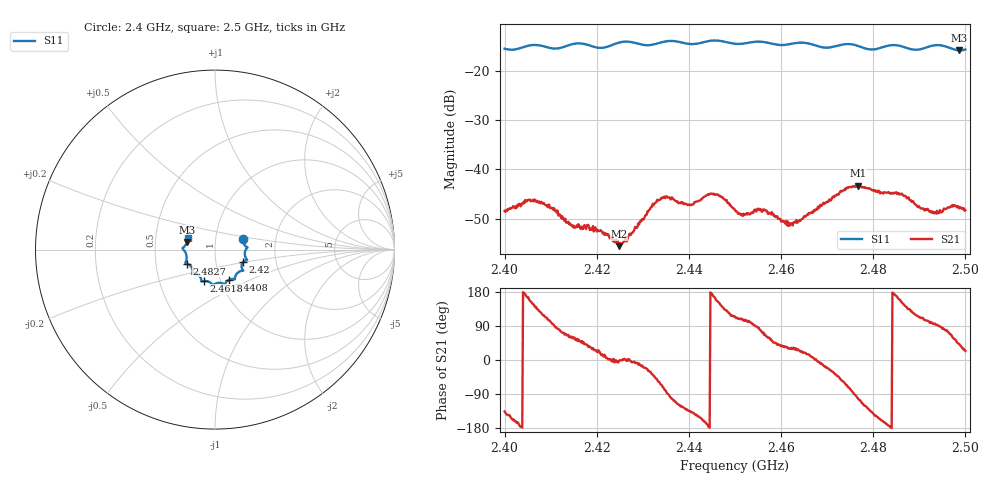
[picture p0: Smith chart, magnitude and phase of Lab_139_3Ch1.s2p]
# Hz S RI R 50
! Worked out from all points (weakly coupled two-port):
!   601 points, 2.4 GHz to 2.5 GHz, reference 50 ohm
!   highest |S21| = -43.32 dB at 2.4767 GHz (marker M1); lowest = -55.6 dB at 2.4248 GHz (marker M2)
!   lowest |S11| = -15.9 dB at 2.4987 GHz (marker M3), VSWR 1.38, Z = 36.5 + j3.23 ohm
!   |S11| at or under -10 dB: start of sweep to end of sweep
!   S12 and S22 are empty: the file has one direction only
!   S11 on the Smith chart (normalised r, x): 2.4 GHz: 1.35, +0.17; 2.42 GHz: 1.36, -0.19; 2.4408 GHz: 1.10, -0.38; 2.4618 GHz: 0.83, -0.30; 2.4827 GHz: 0.72, -0.12; 2.5 GHz: 0.73, +0.09
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2.4e9  0.1548 0.0616  -0.00271 -0.00265  0 0  0 0
2.4065e9  0.1815 0.0124  -0.0039 0.00306  0 0  0 0
2.411167e9  0.1659 -0.0201  0.000235 0.00373  0 0  0 0
2.416667e9  0.1787 -0.0588  0.00182 0.0019  0 0  0 0
2.42e9  0.1569 -0.069  0.00217 0.000895  0 0  0 0
2.424833e9  0.1552 -0.1133  0.00167 -4.97e-05  0 0  0 0
2.433333e9  0.1116 -0.153  0.00266 -0.00404  0 0  0 0
2.440833e9  0.0778 -0.1685  -0.0033 -0.0029  0 0  0 0
2.445e9  0.054 -0.1939  -0.00563 0.000567  0 0  0 0
2.45e9  0.027 -0.185  -0.00162 0.00352  0 0  0 0
2.451667e9  0.00933 -0.1871  -0.000871 0.00326  0 0  0 0
2.4565e9  -0.0154 -0.1935  0.00149 0.00357  0 0  0 0
2.461833e9  -0.0613 -0.1751  0.00233 0.00135  0 0  0 0
2.466667e9  -0.0761 -0.1683  0.00359 0.0005  0 0  0 0
2.474167e9  -0.126 -0.1362  0.00253 -0.00587  0 0  0 0
2.476667e9  -0.1245 -0.1271  -0.00128 -0.0067  0 0  0 0
2.482667e9  -0.1581 -0.0778  -0.00564 -0.0014  0 0  0 0
2.483333e9  -0.162 -0.0767  -0.00584 -0.000725  0 0  0 0
2.489167e9  -0.1591 -0.0328  -0.00216 0.00385  0 0  0 0
2.493167e9  -0.1802 0.00499  -0.000363 0.00356  0 0  0 0
2.498667e9  -0.1545 0.0431  0.003 0.00268  0 0  0 0
2.5e9  -0.1512 0.0629  0.00352 0.00156  0 0  0 0
